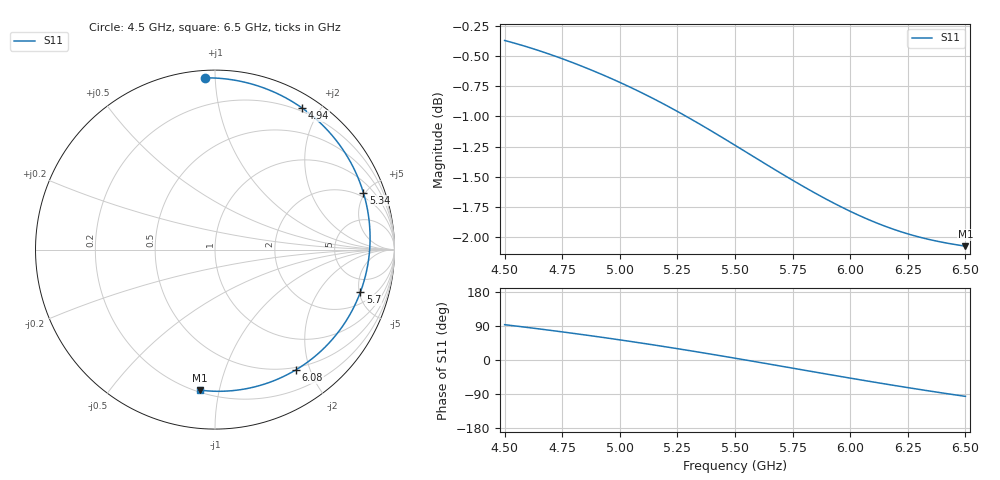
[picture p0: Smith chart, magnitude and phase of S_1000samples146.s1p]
! TOUCHSTONE file generated by CST MICROWAVE STUDIO
! Date and time: Thu Oct 27 03:55:45 2022
! Project name: L.cst
! Parameters = {Di=1.27; Epsilon_r=1.56; InnerDiameter=1.27; Length=2; Lf=10; Lg=60; OuterConductorThickness=0.2921; OuterDiameter=3.6; Wf=3; Wp=41.2; de=1.5; df=6.8; g=0.8; gx=3.08431; gy=3.42151; h=2.34; hf=1.524; px=10.016; py=8.72778; w=9.7; wx=6.93168; wy=5.30627}
! Header version: 2018
! Port assignment regex: !\s*Touchstone port\s*([0-9]+)\s*=\s*(CST MWS port|CST DS port)\s*([0-9]+|Zmin|Zmax)\s*\(\"(.*)\"\)(\s*mode\s*([0-9]+))?.*
! Touchstone port assignment:
! Touchstone port 1 = CST MWS port 1 ("")
# GHz S DB R 50
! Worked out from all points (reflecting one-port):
!   101 points, 4.5 GHz to 6.5 GHz, reference 50 ohm
!   lowest |S11| = -2.1 dB at 6.5 GHz (marker M1), VSWR 8.41, Z = 10.7 - j43.9 ohm
!   phase of S11 starts at 93 deg and turns -189 deg over the sweep
!   S11 on the Smith chart (normalised r, x): 4.5 GHz: 0.04, +0.94; 4.94 GHz: 0.16, +1.78; 5.34 GHz: 1.65, +4.85; 5.7 GHz: 3.14, -5.15; 6.08 GHz: 0.46, -1.79; 6.5 GHz: 0.21, -0.88
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4.5  -0.37 93.2
4.58  -0.41 87.3
4.64  -0.45 82.8
4.76  -0.53 73.4
4.86  -0.60 65.2
4.94  -0.67 58.4
5  -0.72 53.1
5.06  -0.77 47.8
5.12  -0.83 42.2
5.2  -0.91 34.7
5.26  -0.97 28.9
5.34  -1.06 21.0
5.42  -1.15 13.0
5.5  -1.24 4.8
5.54  -1.29 0.6
5.6  -1.36 -5.7
5.7  -1.47 -16.2
5.76  -1.54 -22.6
5.82  -1.61 -28.9
5.88  -1.67 -35.3
5.94  -1.73 -41.6
6  -1.79 -47.8
6.08  -1.86 -56.0
6.16  -1.92 -64.0
6.26  -1.98 -73.8
6.32  -2.01 -79.5
6.38  -2.04 -85.1
6.5  -2.08 -96.0
